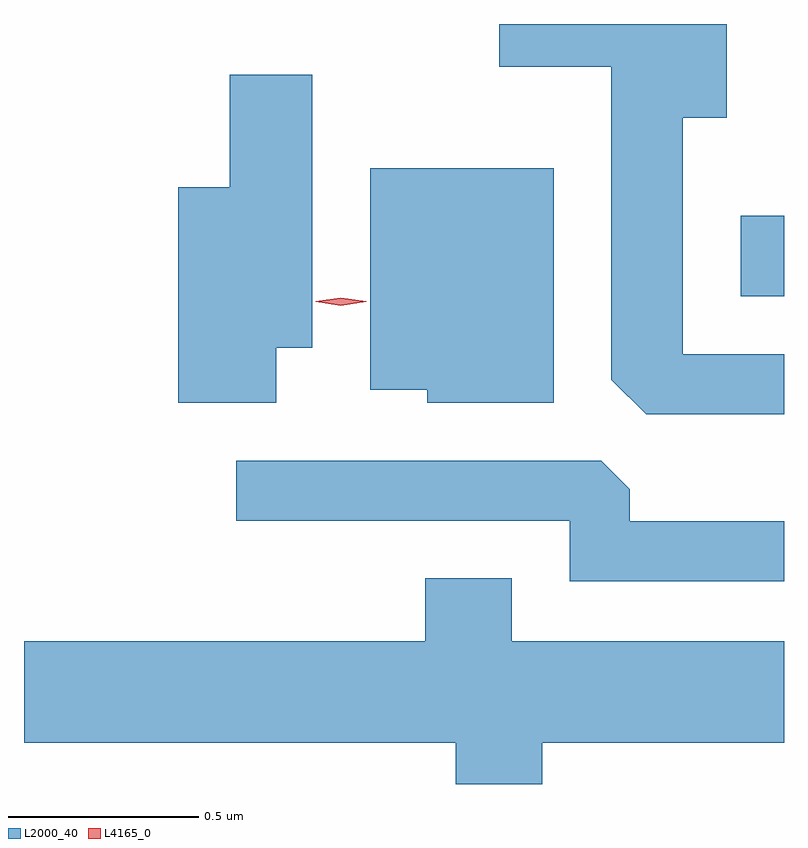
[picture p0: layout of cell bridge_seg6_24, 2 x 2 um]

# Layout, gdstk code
import gdstk
lib = gdstk.Library(unit=1e-6, precision=1e-09)
def R(c, l, rs):  # rectangles x0, y0, x1, y1
    for r in rs: c.add(gdstk.rectangle(r[:2], r[2:], *l))
def P(c, l, *ps):  # polygons
    for p in ps: c.add(gdstk.Polygon(p, *l))
L2000_40 = (2000, 40)
L4165_0 = (4165, 0)

bridge_seg6_24 = lib.new_cell('bridge_seg6_24')
R(bridge_seg6_24, L2000_40, [(1771.751,1642.231,1771.865,1642.444)])
P(bridge_seg6_24, L2000_40, [(1771.865,1642.079),(1771.599,1642.079),(1771.599,1642.701),(1771.714,1642.701),(1771.714,1642.948),(1771.116,1642.948),(1771.116,1642.836),(1771.411,1642.836),(1771.411,1642.012),(1771.502,1641.921),(1771.865,1641.921)],
  [(1770.529,1642.096),(1770.624,1642.096),(1770.624,1642.814),(1770.406,1642.814),(1770.406,1642.519),(1770.271,1642.519),(1770.271,1641.951),(1770.529,1641.951)],
  [(1771.259,1642.569),(1770.776,1642.569),(1770.776,1641.986),(1770.926,1641.986),(1770.926,1641.951),(1771.259,1641.951)],
  [(1771.865,1641.639),(1771.459,1641.639),(1771.459,1641.724),(1771.384,1641.799),(1770.423,1641.799),(1770.423,1641.641),(1771.301,1641.641),(1771.301,1641.481),(1771.865,1641.481)],
  [(1771.229,1641.056),(1771.865,1641.056),(1771.865,1641.324),(1771.149,1641.324),(1771.149,1641.489),(1770.921,1641.489),(1770.921,1641.324),(1769.865,1641.324),(1769.865,1641.056),(1771.001,1641.056),(1771.001,1640.948),(1771.229,1640.948)])
P(bridge_seg6_24, L4165_0, [(1770.699,1642.207),(1770.633,1642.217),(1770.633,1642.217),(1770.633,1642.218),(1770.699,1642.227),(1770.765,1642.218),(1770.765,1642.217),(1770.765,1642.217)])

lib.write_gds('bridge_seg6_24.gds')
